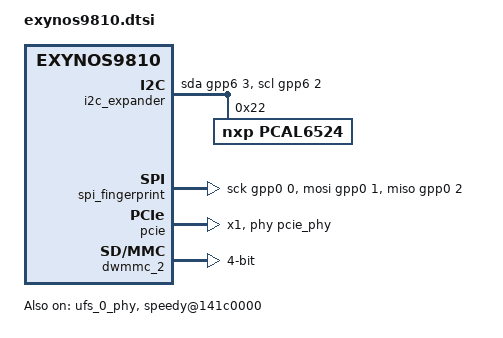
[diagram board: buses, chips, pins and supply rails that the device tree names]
// SPDX-License-Identifier: GPL-2.0
/*
 * Samsung Exynos9810 SoC device tree source
 *
 * Samsung Exynos9810 SoC device nodes are listed in this file.
 * Exynos9810 based board files can include this file and provide
 * values for board specific bindings.
*/

#include <dt-bindings/interrupt-controller/arm-gic.h>
#include <dt-bindings/gpio/gpio.h>
#include <dt-bindings/clock/samsung,exynos9810.h>


/ {
	compatible = "samsung,exynos9810";
	#address-cells = <2>;
	#size-cells = <2>;

	interrupt-parent = <&gic>;

	aliases {
		pinctrl0 = &pinctrl_alive;
		pinctrl1 = &pinctrl_aud;
		pinctrl2 = &pinctrl_chub;
		pinctrl3 = &pinctrl_cmgp;
		pinctrl4 = &pinctrl_fsys0;
		pinctrl5 = &pinctrl_fsys1;
		pinctrl6 = &pinctrl_peric0;
		pinctrl7 = &pinctrl_peric1;
		pinctrl8 = &pinctrl_vts;
	};

	xxti: clock {
		compatible = "fixed-clock";
		clock-output-names = "oscclk";
		#clock-cells = <0>;
	};

	psci {
		compatible = "arm,psci";
		method = "smc";
		cpu_suspend = <0xC4000001>;
		cpu_off = <0x84000002>;
		cpu_on = <0xC4000003>;
	};

	reserved-memory {
		#address-cells = <2>;
		#size-cells = <2>;
		ranges;

		abox_region: abox-region@fb200000 {
			reg = <0x0 0xfb200000 0x0 0x2800000>;
			no-map;
		};

		camera_secure: camera-region@e1900000 {
			reg = <0x0 0xe1900000 0x0 0x1e00000>;
			no-map;
		};

		snapshot_region: snapshot-region@fda00000 {
			reg = <0x0 0xfda00000 0x0 0x1c08000>;
			no-map;
		};

		fimc_is_region: fimc-is-region@ff800000 {
			reg = <0x0 0xff800000 0x0 0x800000>;
			no-map;
		};

	};

	cpus {
		#address-cells = <2>;
		#size-cells = <0>;

		cpu-map {
			cluster0 {
				core0 {
					cpu = <&cpu0>;
				};
				core1 {
					cpu = <&cpu1>;
				};
				core2 {
					cpu = <&cpu2>;
				};
				core3 {
					cpu = <&cpu3>;
				};
			};

			cluster1 {
				core0 {
					cpu = <&cpu4>;
				};
				core1 {
					cpu = <&cpu5>;
				};
				core2 {
					cpu = <&cpu6>;
				};
				core3 {
					cpu = <&cpu7>;
				};
			};
		};

		cpu0: cpu@0 {
			device_type = "cpu";
			compatible = "arm,cortex-a55", "arm,armv8";
			reg = <0x0 0x0>;
			enable-method = "psci";
		};
		cpu1: cpu@1 {
			device_type = "cpu";
			compatible = "arm,cortex-a55", "arm,armv8";
			reg = <0x0 0x1>;
			enable-method = "psci";
		};
		cpu2: cpu@2 {
			device_type = "cpu";
			compatible = "arm,cortex-a55", "arm,armv8";
			reg = <0x0 0x2>;
			enable-method = "psci";
		};
		cpu3: cpu@3 {
			device_type = "cpu";
			compatible = "arm,cortex-a55", "arm,armv8";
			reg = <0x0 0x3>;
			enable-method = "psci";
		};
		cpu4: cpu@100 {
			device_type = "cpu";
			compatible = "samsung,meerkat", "arm,armv8";
			reg = <0x0 0x100>;
		};
		cpu5: cpu@101 {
			device_type = "cpu";
			compatible = "samsung,meerkat", "arm,armv8";
			reg = <0x0 0x101>;
		};
		cpu6: cpu@102 {
			device_type = "cpu";
			compatible = "samsung,meerkat", "arm,armv8";
			reg = <0x0 0x102>;
		};
		cpu7: cpu@103 {
			device_type = "cpu";
			compatible = "samsung,meerkat", "arm,armv8";
			reg = <0x0 0x103>;
		};
	};

    	timer: timer {
		compatible = "arm,armv8-timer";
		interrupts = <GIC_PPI 13
			(GIC_CPU_MASK_SIMPLE(8) | IRQ_TYPE_LEVEL_LOW)>,
		<GIC_PPI 14
			(GIC_CPU_MASK_SIMPLE(8) | IRQ_TYPE_LEVEL_LOW)>,
		<GIC_PPI 11
			(GIC_CPU_MASK_SIMPLE(8) | IRQ_TYPE_LEVEL_LOW)>,
		<GIC_PPI 10
			(GIC_CPU_MASK_SIMPLE(8) | IRQ_TYPE_LEVEL_LOW)>;
		clock-frequency = <26000000>;
	};

	soc: soc {
		compatible = "simple-bus";
		#address-cells = <1>;
		#size-cells = <1>;
		ranges = <0 0 0 0x20000000>;

		chipid: chipid@10000000 {
			compatible = "samsung,exynos850-chipid";
			reg = <0x10000000 0x100>;
		};

		gic: interrupt-controller@10100000 {
			compatible = "arm,cortex-a15-gic";
			#interrupt-cells = <3>;
			interrupt-controller;
			reg = <0x10101000 0x1000>,
			      <0x10102000 0x1000>,
			      <0x10104000 0x2000>,
			      <0x10106000 0x2000>;
			interrupts = <GIC_PPI 9 0xf04>;
		};

		rtc: rtc@10590000 {
			compatible = "samsung,s3c6410-rtc";
			reg = <0x141e0000 0x100>;
			interrupts = <GIC_SPI 31 IRQ_TYPE_LEVEL_HIGH>,
				     <GIC_SPI 32 IRQ_TYPE_LEVEL_HIGH>;
			clocks = <&xxti>;
			clock-names = "rtc";
		};
	
		pmu_system_controller: system-controller@14060000 {
			compatible = "samsung,exynos7-pmu", "syscon";
			status = "disabled";
			reg = <0x14060000 0x10000>;

			reboot: syscon-reboot {
				compatible = "syscon-reboot";
				regmap = <&pmu_system_controller>;
				offset = <0x400>; /* SWRESET */
				mask = <0x1>;
			};
		};

		sysreg_fsys1_controller: system-controller@11410000 {
			compatible = "syscon";
			reg = <0x11410000 0x1200>;
		};

		pinctrl_alive: pinctrl@14050000 {
			compatible = "samsung,exynos9810-pinctrl";
			reg = <0x14050000 0x1000>;
		};

		pinctrl_aud: pinctrl@17c60000 {
			compatible = "samsung,exynos9810-pinctrl";
			reg = <0x17c60000 0x1000>;
		};

		pinctrl_chub: pinctrl@13a80000 {
			compatible = "samsung,exynos9810-pinctrl";
			reg = <0x13a80000 0x1000>;
		};

		pinctrl_cmgp: pinctrl@14220000 {
			compatible = "samsung,exynos9810-pinctrl";
			reg = <0x14220000 0x1000>;
		};

		pinctrl_fsys0: pinctrl@11050000 {
			compatible = "samsung,exynos9810-pinctrl";
			reg = <0x11050000 0x1000>;
		};

		pinctrl_fsys1: pinctrl@11430000 {
			compatible = "samsung,exynos9810-pinctrl";
			reg = <0x11430000 0x1000>;
		};

		pinctrl_peric0: pinctrl@10430000 {
			compatible = "samsung,exynos9810-pinctrl";
			reg = <0x10430000 0x1000>;
		};

		pinctrl_peric1: pinctrl@10830000 {
			compatible = "samsung,exynos9810-pinctrl";
			reg = <0x10830000 0x1000>;
		};

		pinctrl_vts: pinctrl@13880000 {
			compatible = "samsung,exynos9810-pinctrl";
			reg = <0x13880000 0x1000>;
		};

		i2c_audio: i2c-gpio-1 {
			compatible = "i2c-gpio";
			#address-cells = <1>;
			#size-cells = <0>;
			sda-gpios = <&gpp4 5 (GPIO_ACTIVE_HIGH | GPIO_OPEN_DRAIN)>;
			scl-gpios = <&gpp4 4 (GPIO_ACTIVE_HIGH | GPIO_OPEN_DRAIN)>;
			i2c-gpio,delay-us = <2>;

			pinctrl-names = "default";
			pinctrl-0 = <&i2c18_pins>;

			status = "disabled";
		};

		i2c_touchscreen: i2c-gpio-2 {
			compatible = "i2c-gpio";
			#address-cells = <1>;
			#size-cells = <0>;
			sda-gpios = <&gpp1 5 (GPIO_ACTIVE_HIGH | GPIO_OPEN_DRAIN)>;
			scl-gpios = <&gpp1 4 (GPIO_ACTIVE_HIGH | GPIO_OPEN_DRAIN)>;
			i2c-gpio,delay-us = <2>;

			pinctrl-names = "default";
			pinctrl-0 = <&i2c10_pins>;

			status = "disabled";
		};

		i2c_expander: i2c-gpio-3 {
			compatible = "i2c-gpio";
			#address-cells = <1>;
			#size-cells = <0>;
			sda-gpios = <&gpp6 3 (GPIO_ACTIVE_HIGH | GPIO_OPEN_DRAIN)>;
			scl-gpios = <&gpp6 2 (GPIO_ACTIVE_HIGH | GPIO_OPEN_DRAIN)>;
			i2c-gpio,delay-us = <2>;

			pinctrl-names = "default";
			pinctrl-0 = <&spi1_pins>;

			status = "okay";

			pcal6524: pcal6524@22 {
				compatible = "nxp,pcal6524";
				reg = <0x22>;
				gpio-controller;
				#gpio-cells = <2>;
				interrupt-controller;
				#interrupt-cells = <2>;
			};
		};

		mali: mali@17500000 {
			compatible = "arm,mali-bifrost";
			reg = <0x17500000 0x5000>;
			interrupts = <GIC_SPI 281 IRQ_TYPE_LEVEL_HIGH>,
				     <GIC_SPI 282 IRQ_TYPE_LEVEL_HIGH>,
				     <GIC_SPI 283 IRQ_TYPE_LEVEL_HIGH>;
			interrupt-names = "mmu", "job", "gpu";
			clocks = <&xxti 0>;
		};

		// pdma0: pdma0@1a2e0000 {
		// 	compatible = "arm,pl330", "arm,primecell";
		// 	reg = <0x1a2e0000 0x1000>;
		// 	interrupts = <GIC_SPI 92 IRQ_TYPE_LEVEL_HIGH>;
		// 	#dma-cells = <1>;
		// 	#dma-channels = <8>;
		// 	#dma-requests = <32>;
		// };

		spi_fingerprint: spi-gpio {
			status = "okay";
			compatible = "spi-gpio";
			#address-cells = <1>;
			#size-cells = <0>;
			// pinctrl-0 = <&spi1_pins>;
			// pinctrl-names = "default";
			gpio-sck = <&gpp0 0 GPIO_ACTIVE_HIGH>;
			gpio-mosi = <&gpp0 1 GPIO_ACTIVE_HIGH>;
			gpio-miso = <&gpp0 2 GPIO_ACTIVE_HIGH>;
			gpio-cs = <&gpp0 3 GPIO_ACTIVE_HIGH>;
		};

		ufs_0_phy: ufs0-phy@11124000 {
			compatible = "samsung,exynosautov9-ufs-phy";
			reg = <0x11124000 0xc00>;
			reg-names = "phy-pma";
			samsung,pmu-syscon = <&pmu_system_controller>;
			#phy-cells = <0>;
			clocks = <&xxti>;
			clock-names = "ref_clk";
			status = "okay";
		};

		ufs_0: ufs0@11120000 {
			compatible = "samsung,exynos9810-ufs";

			reg = <0x11120000 0x100>,  /* 0: HCI standard */
				<0x11121100 0x410>,  /* 1: Vendor-specific */
				<0x11110000 0x8000>,  /* 2: UNIPRO */
				<0x11130000 0x2200>;  /* 3: UFS protector */
			reg-names = "hci", "vs_hci", "unipro", "ufsp";
			interrupts = <GIC_SPI 242 IRQ_TYPE_LEVEL_HIGH>;
			clocks = <&cmu_top GOUT_CLKCMU_FSYS0_UFS_EMBD>,
				 <&cmu_fsys0 GOUT_FSYS0_UFS_EMBD_UNIPRO>;
			clock-names = "core_clk", "sclk_unipro_main";
			freq-table-hz = <0 0>, <0 0>;
			phys = <&ufs_0_phy>;
			phy-names = "ufs-phy";
		};

		pcie_phy: pcie-phy@116D0000 {
			compatible = "samsung,exynos5433-pcie-phy";
			reg = <0x116D0000 0x1000>;
			samsung,pmu-syscon = <&pmu_system_controller>;
			samsung,fsys-sysreg = <&sysreg_fsys1_controller>;
			#phy-cells = <0>;
			status = "disabled";
		};

		pcie: pcie@11700000 {
			compatible = "samsung,exynos5433-pcie";
			reg = <0x11700000 0x1000>, <0x116a0000 0x1000>,
			      <0x127fe000 0x2000>;
			reg-names = "dbi", "elbi", "config";
			#address-cells = <3>;
			#size-cells = <2>;
			#interrupt-cells = <1>;
			device_type = "pci";
			interrupts = <GIC_SPI 253 IRQ_TYPE_LEVEL_HIGH>;
			num-lanes = <1>;
			num-viewport = <3>;
			bus-range = <0x00 0xff>;
			phys = <&pcie_phy>;
			ranges = <0x81000000 0 0	  0x0c001000 0 0x00010000>,
				 <0x82000000 0 0x0c011000 0x0c011000 0 0x03feefff>;
			status = "okay";
		};

		speedy@141c0000 {
			compatible = "samsung,exynos-speedy";
			reg = <0x141c0000 0x2000>;
			interrupts = <GIC_SPI 35 IRQ_TYPE_LEVEL_HIGH>;
			#address-cells = <1>;
			#size-cells = <0>;
			status = "okay";
		};

		cmu_top: clock_controller@1a240000 {
			compatible = "samsung,exynos9810-cmu-top";
			reg = <0x1a240000 0x8000>;

			#clock-cells = <1>;
			clocks = <&xxti>;
			clock-names = "oscclk";
		};

		cmu_fsys0: clock_controller@11000000 {
			compatible = "samsung,exynos9810-cmu-fsys0";
			reg = <0x11000000 0x8000>;

			#clock-cells = <1>;
			clock-names = "oscclk", "dout_clkcmu_fsys0_bus";
			clocks = <&xxti>,
				 <&cmu_top DOUT_CLKCMU_FSYS0_BUS>;
		};

		dwmmc_2: dwmmc@11500000 {
			compatible = "samsung,exynos7-dw-mshc-smu";
			interrupts = <GIC_SPI 249 IRQ_TYPE_LEVEL_HIGH>;
			#address-cells = <1>;
			#size-cells = <0>;
			reg = <0x11500000 0x2000>;
			clocks = <&cmu_top GOUT_CLKCMU_FSYS1_MMC_CARD>;
			clock-names = "ciu";
			fifo-depth = <0x40>;

			supports-highspeed;
			supports-4bit;
			supports-cmd23;
			supports-erase;
			card-detect-delay = <200>;
			clock-frequency = <800000000>;

			samsung,dw-mshc-ciu-div = <3>;
			samsung,dw-mshc-sdr-timing = <3 0 2 0>;
			samsung,dw-mshc-ddr-timing = <3 0 2 1>;
			samsung,dw-mshc-sdr50-timing = <3 0 4 2>;
			samsung,dw-mshc-sdr104-timing = <3 0 3 0>;
			bus-width = <4>;

			cd-gpio = <&gpa1 5 GPIO_ACTIVE_LOW>;
			pinctrl-0 = <&sd_pins>, <&cd_pins>;
			pinctrl-names = "default";
			status = "okay";
		};
	};
};

#include "exynos9810-pinctrl.dtsi"
#include "arm/exynos-syscon-restart.dtsi"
